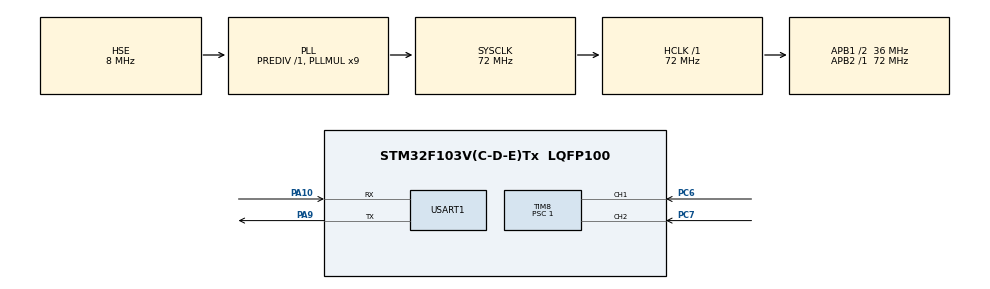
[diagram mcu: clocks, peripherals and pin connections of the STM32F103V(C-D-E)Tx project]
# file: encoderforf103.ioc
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Mcu.Family=STM32F1
Mcu.Name=STM32F103V(C-D-E)Tx
Mcu.Package=LQFP100
NVIC.PriorityGroup=NVIC_PRIORITYGROUP_4
OSC_IN.Mode=HSE-External-Oscillator
OSC_IN.Signal=RCC_OSC_IN
OSC_OUT.Mode=HSE-External-Oscillator
OSC_OUT.Signal=RCC_OSC_OUT
PA10.Mode=Asynchronous
PA10.Signal=USART1_RX
PA13.Mode=Serial_Wire
PA13.Signal=SYS_JTMS-SWDIO
PA14.Mode=Serial_Wire
PA14.Signal=SYS_JTCK-SWCLK
PA9.Mode=Asynchronous
PA9.Signal=USART1_TX
PC6.Signal=S_TIM8_CH1
PC7.Signal=S_TIM8_CH2
ProjectManager.HeapSize=0x200
ProjectManager.StackSize=0x400
ProjectManager.TargetToolchain=MDK-ARM V5.27
RCC.AHBFreq_Value=72000000
RCC.APB1CLKDivider=RCC_HCLK_DIV2
RCC.APB1Freq_Value=36000000
RCC.APB1TimFreq_Value=72000000
RCC.APB2Freq_Value=72000000
RCC.APB2TimFreq_Value=72000000
RCC.HCLKFreq_Value=72000000
RCC.PLLMUL=RCC_PLL_MUL9
RCC.PLLSourceVirtual=RCC_PLLSOURCE_HSE
RCC.SYSCLKFreq_VALUE=72000000
RCC.SYSCLKSource=RCC_SYSCLKSOURCE_PLLCLK
RCC.USBFreq_Value=72000000
SH.S_TIM8_CH1.0=TIM8_CH1,Encoder_Interface
SH.S_TIM8_CH2.0=TIM8_CH2,Encoder_Interface
TIM8.EncoderMode=TIM_ENCODERMODE_TI1
TIM8.IC1Filter=0
TIM8.IC2Filter=0
TIM8.Prescaler=1
USART1.VirtualMode=VM_ASYNC
board=custom

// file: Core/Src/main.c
/* USER CODE BEGIN Header */
/**
  ******************************************************************************
  * @file           : main.c
  * @brief          : Main program body
  ******************************************************************************
  * @attention
  *
  * <h2><center>&copy; Copyright (c) 2021 STMicroelectronics.
  * All rights reserved.</center></h2>
  *
  * This software component is licensed by ST under BSD 3-Clause license,
  * the "License"; You may not use this file except in compliance with the
  * License. You may obtain a copy of the License at:
  *                        opensource.org/licenses/BSD-3-Clause
  *
  ******************************************************************************
  */
/* USER CODE END Header */
#include "main.h"
#include "tim.h"
#include "usart.h"
#include "gpio.h"

/* USER CODE BEGIN Includes */
#include <stdio.h>
/* USER CODE END Includes */

/* USER CODE BEGIN PM */
int encoder = 0;
uint8_t direction;
/* USER CODE END PM */

void SystemClock_Config(void);

/* USER CODE BEGIN 0 */

/* printf重定向 */
int fputc(int ch, FILE *f)
{
	uint8_t temp[1] = {ch};
	HAL_UART_Transmit(&huart1, temp, 1, 2);//huart1需要根据你的配置修改
	return ch;
}

int Read_Encoder(uint8_t TIMx)
{
	int Encoder_TIM;
	switch(TIMx) {
		case 1: Encoder_TIM= (short)TIM1 -> CNT;  TIM1 -> CNT=0;break;
		case 2: Encoder_TIM= (short)TIM2 -> CNT;  TIM2 -> CNT=0;break;
		case 3: Encoder_TIM= (short)TIM3 -> CNT;  TIM3 -> CNT=0;break;
		case 4: Encoder_TIM= (short)TIM4 -> CNT;  TIM4 -> CNT=0;break;
		case 5: Encoder_TIM= (short)TIM5 -> CNT;  TIM5 -> CNT=0;break;
		case 6: Encoder_TIM= (short)TIM6 -> CNT;  TIM6-> CNT=0;break;
		case 7: Encoder_TIM= (short)TIM7 -> CNT;  TIM7 -> CNT=0;break;
		case 8: Encoder_TIM= (short)TIM8 -> CNT;  TIM8 -> CNT=0;break;
		#if 0
		case 9: Encoder_TIM= (short)TIM9 -> CNT;  TIM9 -> CNT=0;break;
		case 10: Encoder_TIM= (short)TIM10 -> CNT;  TIM10 -> CNT=0;break;
		case 11: Encoder_TIM= (short)TIM11 -> CNT;  TIM11 -> CNT=0;break;
		case 12: Encoder_TIM= (short)TIM12 -> CNT;  TIM12 -> CNT=0;break;
		case 13: Encoder_TIM= (short)TIM13 -> CNT;  TIM13 -> CNT=0;break;
		case 14: Encoder_TIM= (short)TIM14 -> CNT;  TIM14 -> CNT=0;break;
		#endif
	}
	return Encoder_TIM;
}

/* USER CODE END 0 */

int main(void)
{

  /* MCU Configuration--------------------------------------------------------*/

  /* Reset of all peripherals, Initializes the Flash interface and the Systick. */
  HAL_Init();

  /* Configure the system clock */
  SystemClock_Config();

  /* Initialize all configured peripherals */
  MX_GPIO_Init();
  MX_TIM8_Init();
  MX_USART1_UART_Init();
  /* USER CODE BEGIN 2 */
	HAL_TIM_Encoder_Start(&htim8, TIM_CHANNEL_ALL);  /* 启动编码器模式 */
  /* USER CODE END 2 */

  /* Infinite loop */
  /* USER CODE BEGIN WHILE */
  while (1)
  {
		encoder = -Read_Encoder(8);
		printf("%d\n", encoder);
		HAL_Delay(100);

    /* USER CODE END WHILE */

  }
}

void SystemClock_Config(void)
{
  RCC_OscInitTypeDef RCC_OscInitStruct = {0};
  RCC_ClkInitTypeDef RCC_ClkInitStruct = {0};

  /** Initializes the RCC Oscillators according to the specified parameters
  * in the RCC_OscInitTypeDef structure.
  */
  RCC_OscInitStruct.OscillatorType = RCC_OSCILLATORTYPE_HSE;
  RCC_OscInitStruct.HSEState = RCC_HSE_ON;
  RCC_OscInitStruct.HSEPredivValue = RCC_HSE_PREDIV_DIV1;
  RCC_OscInitStruct.HSIState = RCC_HSI_ON;
  RCC_OscInitStruct.PLL.PLLState = RCC_PLL_ON;
  RCC_OscInitStruct.PLL.PLLSource = RCC_PLLSOURCE_HSE;
  RCC_OscInitStruct.PLL.PLLMUL = RCC_PLL_MUL9;
  if (HAL_RCC_OscConfig(&RCC_OscInitStruct) != HAL_OK)
  {
    Error_Handler();
  }
  /** Initializes the CPU, AHB and APB buses clocks
  */
  RCC_ClkInitStruct.ClockType = RCC_CLOCKTYPE_HCLK|RCC_CLOCKTYPE_SYSCLK
                              |RCC_CLOCKTYPE_PCLK1|RCC_CLOCKTYPE_PCLK2;
  RCC_ClkInitStruct.SYSCLKSource = RCC_SYSCLKSOURCE_PLLCLK;
  RCC_ClkInitStruct.AHBCLKDivider = RCC_SYSCLK_DIV1;
  RCC_ClkInitStruct.APB1CLKDivider = RCC_HCLK_DIV2;
  RCC_ClkInitStruct.APB2CLKDivider = RCC_HCLK_DIV1;

  if (HAL_RCC_ClockConfig(&RCC_ClkInitStruct, FLASH_LATENCY_2) != HAL_OK)
  {
    Error_Handler();
  }
}

void Error_Handler(void)
{
  __disable_irq();
  while (1)
  {
  }
}

/************************ (C) COPYRIGHT STMicroelectronics *****END OF FILE****/
